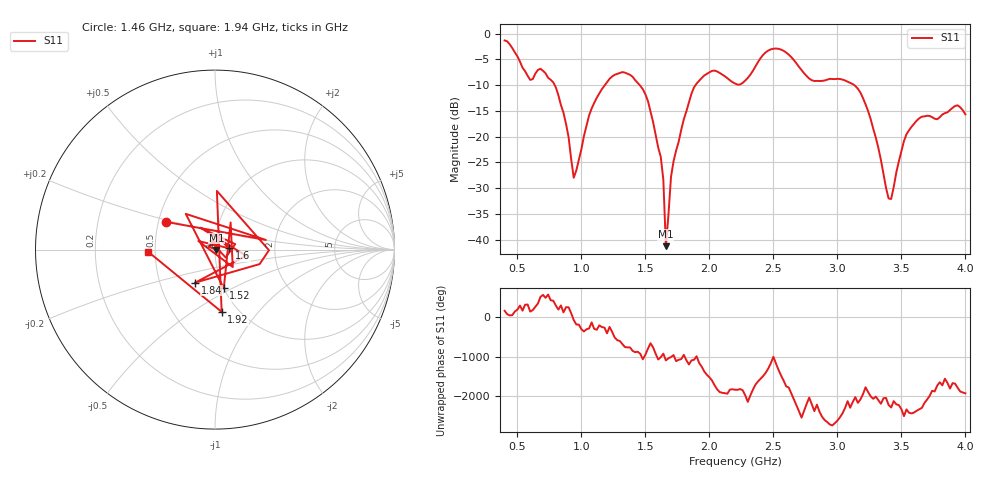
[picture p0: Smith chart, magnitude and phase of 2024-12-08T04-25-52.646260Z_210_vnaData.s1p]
!Created with skrf (http://scikit-rf.org).
# Hz S RI R 50.0
!freq ReS11 ImS11
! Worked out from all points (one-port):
!   181 points, 400 MHz to 4 GHz, reference 50 ohm
!   lowest |S11| = -41.2 dB at 1.66 GHz (marker M1), VSWR 1.02, Z = 50.8 - j0.263 ohm
!   |S11| at or under -10 dB: 791.2 MHz to 1.183 GHz (392.2 MHz wide, 39.7 % of centre); 1.455 GHz to 1.892 GHz (436.7 MHz wide, 26.1 % of centre); 3.131 GHz to end of sweep
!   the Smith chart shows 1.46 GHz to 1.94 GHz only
!   S11 on the Smith chart (normalised r, x): 1.46 GHz: 0.55, +0.19; 1.52 GHz: 1.00, -0.45; 1.6 GHz: 1.17, +0.02; 1.84 GHz: 0.75, -0.29; 1.92 GHz: 0.84, -0.66; 1.94 GHz: 0.46, -0.01
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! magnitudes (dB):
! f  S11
! 400 MHz  -1.3
! 600 MHz  -9.0
! 680 MHz  -6.8
! 780 MHz  -9.5
! 860 MHz  -15.4
! 940 MHz  -28.0
! 1.08 GHz  -14.5
! 1.3 GHz  -7.6
! 1.46 GHz  -10.1
! 1.52 GHz  -13.1
! 1.6 GHz  -22.1
! 1.64 GHz  -28.3
! 1.66 GHz  -41.2
! 1.7 GHz  -27.8
! 1.76 GHz  -21.0
! 1.84 GHz  -13.4
! 1.92 GHz  -9.1
! 1.94 GHz  -8.6
! 2.2 GHz  -9.7
! 2.48 GHz  -3.1
! 2.66 GHz  -5.2
! 2.8 GHz  -9.1
! 3.1 GHz  -9.6
! 3.24 GHz  -15.0
! 3.4 GHz  -32.0
! 3.56 GHz  -18.7
! 3.92 GHz  -14.0
! 4 GHz  -15.7
